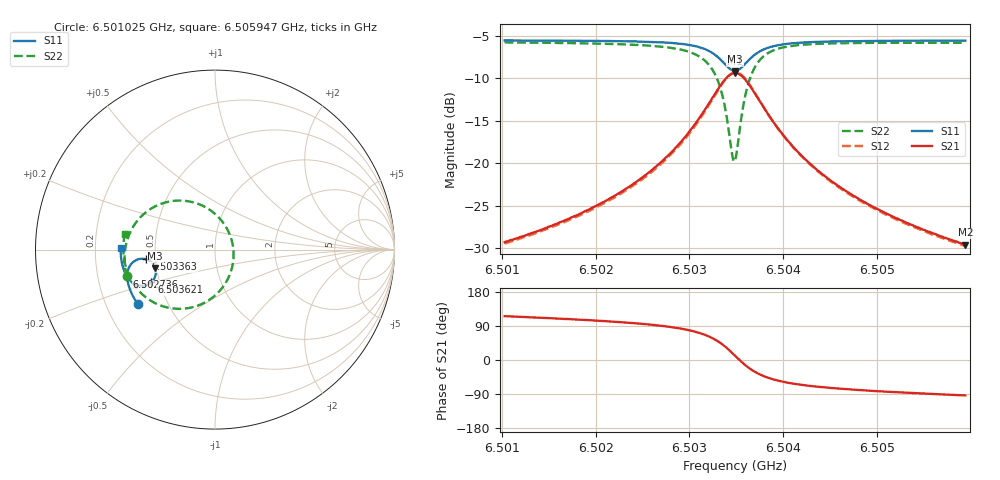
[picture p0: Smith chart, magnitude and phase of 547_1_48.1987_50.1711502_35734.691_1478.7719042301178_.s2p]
#  HZ  S  RI  R  50.00
! Rohde & Schwarz Vector Network Analyzer
! Rohde-Schwarz,ZNB20-2Port,1311601062101988,3.16
! Created: UTC 3/20/2024, 12:00:37 PM
! freq[Hz]  re:S11  im:S11  re:S21  im:S21  re:S12  im:S12  re:S22  im:S22
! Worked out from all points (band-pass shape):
!   401 points, 6.501025 GHz to 6.505947 GHz, reference 50 ohm
!   highest |S21| = -9.40 dB at 6.503486 GHz (marker M1); lowest = -29.6 dB at 6.505947 GHz (marker M2)
!   |S21| within 3 dB of the highest: 6.503241 GHz to 6.503732 GHz (491.8 kHz wide, 0.00756 % of centre)
!   lowest |S11| = -9.1 dB at 6.503486 GHz (marker M3), VSWR 2.07, Z = 24.6 - j5.82 ohm
!   |S11| at or under -10 dB: nowhere
!   |S22| runs from -19.8 to -5.8 dB; largest |S21 - S12| = 0.011
!   S11 on the Smith chart (normalised r, x): 6.501025 GHz: 0.34, -0.29; 6.502736 GHz: 0.33, -0.14; 6.503363 GHz: 0.44, -0.05; 6.503621 GHz: 0.45, -0.19; 6.505947 GHz: 0.31, +0.01
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6.5010252e9  -0.4294 -0.3056  -0.0148 0.0308  -0.0131 0.0309  -0.4914 -0.149
6.5018496e9  -0.4647 -0.2439  -0.0141 0.0489  -0.0117 0.0486  -0.5035 -0.0602
6.5022802e9  -0.4796 -0.2053  -0.0112 0.0672  -0.00838 0.0663  -0.5004 0.00164
6.502674e9  -0.4887 -0.1614  -0.0017 0.0987  0.00188 0.0963  -0.4792 0.0812
6.5027355e9  -0.4892 -0.1532  0.00149 0.1059  0.0052 0.1034  -0.4723 0.0973
6.502957e9  -0.4858 -0.118  0.0235 0.1411  0.0271 0.1371  -0.4265 0.1682
6.5031169e9  -0.4711 -0.0858  0.0627 0.1773  0.0654 0.1718  -0.3503 0.2317
6.5032646e9  -0.4335 -0.056  0.1442 0.2063  0.1449 0.2003  -0.2018 0.2731
6.503363e9  -0.387 -0.0529  0.2357 0.19  0.2358 0.1856  -0.0438 0.2309
6.5034492e9  -0.344 -0.0819  0.3142 0.1158  0.3168 0.112  0.0818 0.0847
6.5034738e9  -0.3359 -0.0962  0.3278 0.0839  0.3312 0.0794  0.0992 0.0248
6.5034861e9  -0.333 -0.104  0.3321 0.067  0.3358 0.062  0.103 -0.0067
6.5035107e9  -0.3299 -0.1203  0.3358 0.0324  0.3398 0.026  0.1008 -0.0702
6.5035476e9  -0.332 -0.1443  0.3284 -0.0179  0.3323 -0.0264  0.0738 -0.1593
6.5036214e9  -0.3542 -0.1816  0.2819 -0.0946  0.2822 -0.1057  -0.0359 -0.2828
6.5037322e9  -0.3998 -0.2019  0.1948 -0.1401  0.1898 -0.1498  -0.2123 -0.3298
6.5038921e9  -0.4472 -0.1923  0.1108 -0.1362  0.1039 -0.1415  -0.3635 -0.2812
6.5040644e9  -0.4752 -0.1709  0.0653 -0.1153  0.059 -0.1177  -0.4373 -0.2147
6.5043105e9  -0.4962 -0.141  0.0345 -0.0902  0.0299 -0.0907  -0.4814 -0.1413
6.5046796e9  -0.5118 -0.102  0.0153 -0.0663  0.012 -0.0659  -0.5042 -0.0656
6.5051349e9  -0.5213 -0.0592  0.0052 -0.0493  0.00291 -0.0486  -0.5105 -8.69e-05
6.505947e9  -0.5263 0.00986  -0.00202 -0.0331  -0.00343 -0.0322  -0.5031 0.0871
